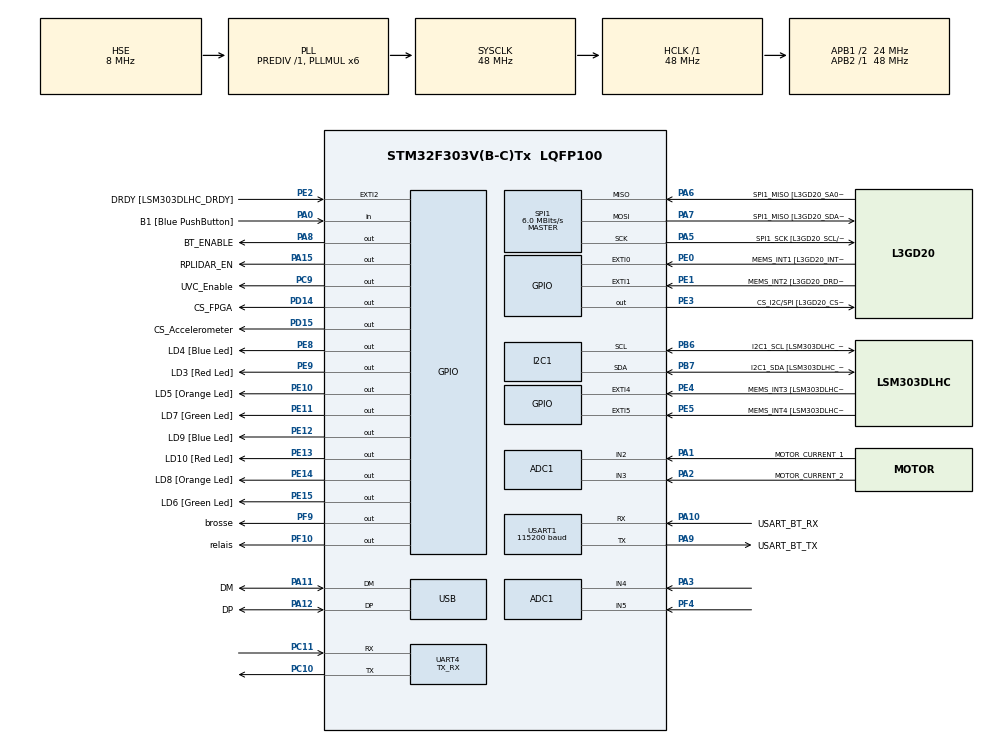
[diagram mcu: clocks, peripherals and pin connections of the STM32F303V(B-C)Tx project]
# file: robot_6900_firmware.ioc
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ADC1.Channel-14\#ChannelRegularConversion=ADC_CHANNEL_2
ADC1.Channel-6\#ChannelRegularConversion=ADC_CHANNEL_3
ADC1.ClockPrescaler=ADC_CLOCK_SYNC_PCLK_DIV2
ADC1.ContinuousConvMode=ENABLE
ADC1.DiscontinuousConvMode=DISABLE
ADC1.EOCSelection=ADC_EOC_SEQ_CONV
ADC1.EnableInjectedConversion=DISABLE
ADC1.EnableRegularConversion=ENABLE
ADC1.NbrOfConversion=2
ADC1.NbrOfConversionFlag=1
ADC1.Offset-14\#ChannelRegularConversion=0
ADC1.Offset-6\#ChannelRegularConversion=0
ADC1.OffsetNumber-14\#ChannelRegularConversion=ADC_OFFSET_NONE
ADC1.OffsetNumber-6\#ChannelRegularConversion=ADC_OFFSET_NONE
ADC1.Rank-14\#ChannelRegularConversion=2
ADC1.Rank-6\#ChannelRegularConversion=1
ADC1.SamplingTime-14\#ChannelRegularConversion=ADC_SAMPLETIME_1CYCLE_5
ADC1.SamplingTime-6\#ChannelRegularConversion=ADC_SAMPLETIME_1CYCLE_5
ADC1.master=1
CRC.CRCLength=CRC_POLYLENGTH_8B
CRC.DefaultPolynomialUse=DEFAULT_POLYNOMIAL_DISABLE
CRC.GeneratingPolynomial=X7+X4+X3+X1+X0
Dma.Request0=UART4_RX
Dma.Request1=USART1_TX
Dma.UART4_RX.0.Direction=DMA_PERIPH_TO_MEMORY
Dma.UART4_RX.0.Instance=DMA2_Channel3
Dma.UART4_RX.0.MemDataAlignment=DMA_MDATAALIGN_BYTE
Dma.UART4_RX.0.MemInc=DMA_MINC_ENABLE
Dma.UART4_RX.0.Mode=DMA_NORMAL
Dma.UART4_RX.0.PeriphDataAlignment=DMA_PDATAALIGN_BYTE
Dma.UART4_RX.0.PeriphInc=DMA_PINC_DISABLE
Dma.UART4_RX.0.Priority=DMA_PRIORITY_VERY_HIGH
Dma.USART1_TX.1.Direction=DMA_MEMORY_TO_PERIPH
Dma.USART1_TX.1.Instance=DMA1_Channel4
Dma.USART1_TX.1.MemDataAlignment=DMA_MDATAALIGN_BYTE
Dma.USART1_TX.1.MemInc=DMA_MINC_ENABLE
Dma.USART1_TX.1.Mode=DMA_NORMAL
Dma.USART1_TX.1.PeriphDataAlignment=DMA_PDATAALIGN_BYTE
Dma.USART1_TX.1.PeriphInc=DMA_PINC_DISABLE
Dma.USART1_TX.1.Priority=DMA_PRIORITY_LOW
I2C1.Timing-I2C=0x2000090E
IWDG.Reload=0
Mcu.Family=STM32F3
Mcu.Name=STM32F303V(B-C)Tx
Mcu.Package=LQFP100
NVIC.ADC1_2_IRQn=true\:0\:0\:false\:false\:true\:true\:true
NVIC.DMA1_Channel4_IRQn=true\:0\:0\:false\:false\:true\:false\:true
NVIC.DMA2_Channel3_IRQn=true\:0\:0\:false\:false\:true\:false\:true
NVIC.PriorityGroup=NVIC_PRIORITYGROUP_0
NVIC.SPI1_IRQn=true\:0\:0\:false\:false\:true\:true\:true
NVIC.TIM7_IRQn=true\:0\:0\:false\:false\:true\:true\:true
NVIC.UART4_IRQn=true\:0\:0\:false\:false\:true\:true\:true
NVIC.USART1_IRQn=true\:0\:0\:false\:false\:true\:true\:true
PA0.GPIO_Label=B1 [Blue PushButton]
PA0.Signal=GPIO_Input
PA1.GPIO_Label=MOTOR_CURRENT_1
PA1.Mode=IN2-Single-Ended
PA1.Signal=ADC1_IN2
PA10.GPIO_Label=USART_BT_RX
PA10.Mode=Asynchronous
PA10.Signal=USART1_RX
PA11.GPIO_Label=DM
PA11.Mode=Device
PA11.Signal=USB_DM
PA12.GPIO_Label=DP
PA12.Mode=Device
PA12.Signal=USB_DP
PA13.GPIO_Label=SWDIO
PA13.Mode=Serial_Wire
PA13.Signal=SYS_JTMS-SWDIO
PA14.GPIO_Label=SWCLK
PA14.Mode=Serial_Wire
PA14.Signal=SYS_JTCK-SWCLK
PA15.GPIO_Label=RPLIDAR_EN
PA15.Signal=GPIO_Output
PA2.GPIO_Label=MOTOR_CURRENT_2
PA2.Mode=IN3-Single-Ended
PA2.Signal=ADC1_IN3
PA3.Mode=IN4-Single-Ended
PA3.Signal=ADC1_IN4
PA5.GPIO_Label=SPI1_SCK [L3GD20_SCL/SPC]
PA5.Mode=Full_Duplex_Master
PA5.Signal=SPI1_SCK
PA6.GPIO_Label=SPI1_MISO [L3GD20_SA0/SDO]
PA6.Mode=Full_Duplex_Master
PA6.Signal=SPI1_MISO
PA7.GPIO_Label=SPI1_MISO [L3GD20_SDA/SDI/SDO]
PA7.Mode=Full_Duplex_Master
PA7.Signal=SPI1_MOSI
PA8.GPIO_Label=BT_ENABLE
PA8.Signal=GPIO_Output
PA9.GPIO_Label=USART_BT_TX
PA9.Mode=Asynchronous
PA9.Signal=USART1_TX
PB3.GPIO_Label=SWO
PB3.Signal=SYS_JTDO-TRACESWO
PB6.GPIO_Label=I2C1_SCL [LSM303DLHC_SCL]
PB6.Mode=I2C
PB6.Signal=I2C1_SCL
PB7.GPIO_Label=I2C1_SDA [LSM303DLHC_SDA]
PB7.Mode=I2C
PB7.Signal=I2C1_SDA
PC10.Mode=Asynchronous
PC10.Signal=UART4_TX
PC11.Mode=Asynchronous
PC11.Signal=UART4_RX
PC14-OSC32_IN.GPIO_Label=OSC32_IN
PC14-OSC32_IN.Signal=RCC_OSC32_IN
PC15-OSC32_OUT.GPIO_Label=OSC32_OUT
PC15-OSC32_OUT.Signal=RCC_OSC32_OUT
PC9.GPIO_Label=UVC_Enable
PC9.Signal=GPIO_Output
PD14.GPIO_Label=CS_FPGA
PD14.PinState=GPIO_PIN_SET
PD14.Signal=GPIO_Output
PD15.GPIO_Label=CS_Accelerometer
PD15.PinState=GPIO_PIN_SET
PD15.Signal=GPIO_Output
PE0.GPIO_Label=MEMS_INT1 [L3GD20_INT1]
PE0.GPIO_ModeDefaultEXTI=GPIO_MODE_EVT_RISING
PE0.Signal=GPXTI0
PE1.GPIO_Label=MEMS_INT2 [L3GD20_DRDY/INT2]
PE1.GPIO_ModeDefaultEXTI=GPIO_MODE_EVT_RISING
PE1.Signal=GPXTI1
PE10.GPIO_Label=LD5 [Orange Led]
PE10.Signal=GPIO_Output
PE11.GPIO_Label=LD7 [Green Led]
PE11.Signal=GPIO_Output
PE12.GPIO_Label=LD9 [Blue Led]
PE12.Signal=GPIO_Output
PE13.GPIO_Label=LD10 [Red Led]
PE13.Signal=GPIO_Output
PE14.GPIO_Label=LD8 [Orange Led]
PE14.Signal=GPIO_Output
PE15.GPIO_Label=LD6 [Green Led]
PE15.Signal=GPIO_Output
PE2.GPIO_Label=DRDY [LSM303DLHC_DRDY]
PE2.GPIO_ModeDefaultEXTI=GPIO_MODE_EVT_RISING
PE2.Signal=GPXTI2
PE3.GPIO_Label=CS_I2C/SPI [L3GD20_CS_I2C/SPI]
PE3.Signal=GPIO_Output
PE4.GPIO_Label=MEMS_INT3 [LSM303DLHC_INT1]
PE4.GPIO_ModeDefaultEXTI=GPIO_MODE_EVT_RISING
PE4.Signal=GPXTI4
PE5.GPIO_Label=MEMS_INT4 [LSM303DLHC_INT2]
PE5.GPIO_ModeDefaultEXTI=GPIO_MODE_EVT_RISING
PE5.Signal=GPXTI5
PE8.GPIO_Label=LD4 [Blue Led]
PE8.Signal=GPIO_Output
PE9.GPIO_Label=LD3 [Red Led]
PE9.Signal=GPIO_Output
PF0-OSC_IN.GPIO_Label=OSC_IN
PF0-OSC_IN.Mode=HSE-External-Clock-Source
PF0-OSC_IN.Signal=RCC_OSC_IN
PF1-OSC_OUT.GPIO_Label=OSC_OUT
PF1-OSC_OUT.Signal=RCC_OSC_OUT
PF10.GPIO_Label=relais
PF10.GPIO_ModeDefaultOutputPP=GPIO_MODE_OUTPUT_OD
PF10.Signal=GPIO_Output
PF4.Mode=IN5-Single-Ended
PF4.Signal=ADC1_IN5
PF9.GPIO_Label=brosse
PF9.GPIO_ModeDefaultOutputPP=GPIO_MODE_OUTPUT_OD
PF9.Signal=GPIO_Output
ProjectManager.HeapSize=0x200
ProjectManager.StackSize=0x400
ProjectManager.TargetToolchain=STM32CubeIDE
RCC.AHBFreq_Value=48000000
RCC.APB1CLKDivider=RCC_HCLK_DIV2
RCC.APB1Freq_Value=24000000
RCC.APB1TimFreq_Value=48000000
RCC.APB2Freq_Value=48000000
RCC.APB2TimFreq_Value=48000000
RCC.CortexFreq_Value=48000000
RCC.HCLKFreq_Value=48000000
RCC.HSE_VALUE=8000000
RCC.HSI_VALUE=8000000
RCC.LSE_VALUE=32768
RCC.PLLMUL=RCC_PLL_MUL6
RCC.SYSCLKFreq_VALUE=48000000
RCC.SYSCLKSourceVirtual=RCC_SYSCLKSOURCE_PLLCLK
RCC.USBFreq_Value=48000000
SPI1.BaudRatePrescaler=SPI_BAUDRATEPRESCALER_8
SPI1.BaudRatePrescaler-Full_Duplex_Master=SPI_BAUDRATEPRESCALER_2
SPI1.CLKPhase=SPI_PHASE_1EDGE
SPI1.CLKPolarity=SPI_POLARITY_LOW
SPI1.CRCCalculation=SPI_CRCCALCULATION_DISABLE
SPI1.CalculateBaudRate=6.0 MBits/s
SPI1.CalculateBaudRate-Full_Duplex_Master=24.0 MBits/s
SPI1.DataSize=SPI_DATASIZE_16BIT
SPI1.Direction=SPI_DIRECTION_2LINES
SPI1.Mode=SPI_MODE_MASTER
SPI1.Mode-Full_Duplex_Master=SPI_MODE_MASTER
SPI1.VirtualType=VM_MASTER
TIM7.AutoReloadPreload=TIM_AUTORELOAD_PRELOAD_ENABLE
TIM7.Period=47999
TIM7.Prescaler=0
TIM7.TIM_MasterOutputTrigger=TIM_TRGO_RESET
UART4.DMADisableonRxErrorParam=UART_ADVFEATURE_DMA_DISABLEONRXERROR
UART4.Mode=MODE_TX_RX
UART4.OneBitSampling=UART_ONE_BIT_SAMPLE_DISABLE
UART4.OverSampling=UART_OVERSAMPLING_16
USART1.BaudRate=115200
USART1.DMADisableonRxErrorParam=ADVFEATURE_DMA_DISABLEONRXERROR
USART1.OverrunDisableParam=ADVFEATURE_OVERRUN_DISABLE
USART1.VirtualMode-Asynchronous=VM_ASYNC
VP_CRC_VS_CRC.Mode=CRC_Activate
VP_IWDG_VS_IWDG.Mode=IWDG_Activate
VP_TIM7_VS_ClockSourceINT.Mode=Enable_Timer
board=STM32F3DISCOVERY

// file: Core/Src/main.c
/* USER CODE BEGIN Header */
/**
  ******************************************************************************
  * @file           : main.c
  * @brief          : Main program body
  ******************************************************************************
  * @attention
  *
  * <h2><center>&copy; Copyright (c) 2020 STMicroelectronics.
  * All rights reserved.</center></h2>
  *
  * This software component is licensed by ST under BSD 3-Clause license,
  * the "License"; You may not use this file except in compliance with the
  * License. You may obtain a copy of the License at:
  *                        opensource.org/licenses/BSD-3-Clause
  *
  ******************************************************************************
  */

/*
############################################################################
#
#	Robot 6900 Firmware Rev0.
#
#	This peace of software is controlling all the application related sensors,
#	such as the accelerometer, the battery current sensor and the LiDAR.
#	The firmware also drives 2 BLDC engines by sending SPI frame to a FPGA which
#	is generating ESC signals.
#
############################################################################
*/

/* USER CODE END Header */

#include "main.h"

/* USER CODE BEGIN Includes */
#include "robot_handler.h"
#include "commands_parser.h"
#include "RPlidar.h"
#include "washer_handler.h"
/* USER CODE END Includes */

/* USER CODE BEGIN PD */

/* Uncomment when debugging to disable IWDG */
#define DEBUG

/* USER CODE END PD */

ADC_HandleTypeDef hadc1;

CRC_HandleTypeDef hcrc;

I2C_HandleTypeDef hi2c1;

IWDG_HandleTypeDef hiwdg;

SPI_HandleTypeDef hspi1;

TIM_HandleTypeDef htim7;

UART_HandleTypeDef huart4;
UART_HandleTypeDef huart1;
DMA_HandleTypeDef hdma_uart4_rx;
DMA_HandleTypeDef hdma_usart1_tx;

PCD_HandleTypeDef hpcd_USB_FS;

/* USER CODE BEGIN PV */

ROBOT6900_STATE robot_state;
RPLIDAR_HANDLER RPlidar;

ROBOT6900_HANDLER h_robot6900 =
		{
				&hiwdg,
				&robot_state,
				&RPlidar,
				0
		};

uint8_t last_debug_leds = 0;

volatile uint16_t a_test = 0;
uint16_t b_test = 0;
/* USER CODE END PV */

void SystemClock_Config(void);
static void MX_GPIO_Init(void);
static void MX_DMA_Init(void);
static void MX_ADC1_Init(void);
static void MX_I2C1_Init(void);
static void MX_SPI1_Init(void);
static void MX_UART4_Init(void);
static void MX_USB_PCD_Init(void);
static void MX_IWDG_Init(void);
static void MX_CRC_Init(void);
static void MX_TIM7_Init(void);
static void MX_USART1_UART_Init(void);

/* USER CODE BEGIN 0 */

/*
 * UARTs Callback function. For HOST XBee, LiDAR UART and Bluetooth
 */
void HAL_UART_RxCpltCallback(UART_HandleTypeDef *huart)
{
	if(huart->Instance == USART1)
	{
		NVIC_command_parser_INT(huart);
	}
	else if(huart->Instance == UART4)
	{
		NVIC_RPlidar_INT(huart);
	}
}

void HAL_UART_TxCpltCallback(UART_HandleTypeDef *huart)
{
	if(huart->Instance == USART1)
	{
		NVIC_command_parser_TX_INT(huart);
	}
}

void HAL_TIM_PeriodElapsedCallback(TIM_HandleTypeDef* htim)
{
	if(htim->Instance==TIM7)
	{
		h_robot6900.robot_state->time_ms++;
		a_test++;
		NVIC_Timout_1ms_INT(htim);
	}
}

void HAL_ADC_ConvCpltCallback(ADC_HandleTypeDef* hadc)
{
	if(hadc->Instance == ADC1)
	{
		ADC_Conversion_INT(hadc);
	}
}
/*
 * Update the LEDs debug wheels (8 LEDs) on the stm32f3Discovery Board
 *
 * See attached Debug_LED excel for debug codes
 */
void update_LEDs(ROBOT6900_HANDLER* h_robot6900)
{
	static uint16_t LEDs_set[8] = {LD3_Pin, LD4_Pin ,LD5_Pin, LD6_Pin, LD7_Pin, LD8_Pin, LD9_Pin, LD10_Pin};

	for(uint8_t i = 0 ; i < 8 ; i++)
	{
		if( ((h_robot6900->robot_state->debug_leds) & (0x01 << i)) == (0x01 << i))
		{
			  HAL_GPIO_WritePin(GPIOE, LEDs_set[i], GPIO_PIN_SET);
		}
		else{
			  HAL_GPIO_WritePin(GPIOE, LEDs_set[i], GPIO_PIN_RESET);
		}
	}
}

/* USER CODE END 0 */

int main(void)
{
  /* USER CODE BEGIN 1 */
	h_robot6900.robot_state->time_ms = 0;
	//SPI_DRIVER_ERROR spi_log = SPI_DRIVER_OK;

  /* USER CODE END 1 */

  /* MCU Configuration--------------------------------------------------------*/

  /* Reset of all peripherals, Initializes the Flash interface and the Systick. */
  HAL_Init();

  /* Configure the system clock */
  SystemClock_Config();

  /* Initialize all configured peripherals */
  MX_GPIO_Init();
  MX_DMA_Init();
  MX_ADC1_Init();
  MX_I2C1_Init();
  MX_SPI1_Init();
  MX_UART4_Init();
  MX_USB_PCD_Init();
  MX_IWDG_Init();
  MX_CRC_Init();
  MX_TIM7_Init();
  MX_USART1_UART_Init();
  /* USER CODE BEGIN 2 */

  // Initiate LOG LEDs
  //HAL_GPIO_WritePin(GPIOA, LOG_HARDFAULT_Pin, GPIO_PIN_RESET);
  //HAL_GPIO_WritePin(GPIOA, LOG_WARNING_Pin, GPIO_PIN_RESET);

  /* Initialise Command parser peripheral. (FSM + CRC + UART5) */
  uart_init(&huart1, &hcrc);
  spi_driver_init(&hspi1);

  /* Initialise RPlidar peripheral (FSM + UART4) */
  RPlidar_init(&h_robot6900, &huart4, &htim7);

  washer_init(&hadc1);

  init_current_probes(&hadc1);

//  HAL_TIM_Base_Start_IT(&htim2);
  HAL_TIM_Base_Start_IT(&htim7);

  disable_UVC();

  // FPGA Motor Test
  //h_robot6900.robot_state->Etat_Movement = Mouvement_Post_Launch;
  /* USER CODE END 2 */

  /* Infinite loop */
  while (1)
  {

    /* USER CODE BEGIN 3 */

	  /*Command parser FSM */
	  cmd_parser_process(&h_robot6900);

	  /* RPlidar FSM */
	  RPlidar_process(&h_robot6900);

	  /* Robot Mouvment */
	  movement_process(&h_robot6900);

	  /* Washer Handler */
	  washer_process(&h_robot6900);

	  current_probes_process(&h_robot6900);

	  /* Debug LEDs state */
	  update_LEDs(&h_robot6900);

	  /* General shell returning data to the HOST */
	  parser_return(&h_robot6900);

  }
  /* USER CODE END 3 */
}

void SystemClock_Config(void)
{
  RCC_OscInitTypeDef RCC_OscInitStruct = {0};
  RCC_ClkInitTypeDef RCC_ClkInitStruct = {0};
  RCC_PeriphCLKInitTypeDef PeriphClkInit = {0};

  /** Initializes the CPU, AHB and APB busses clocks
  */
  RCC_OscInitStruct.OscillatorType = RCC_OSCILLATORTYPE_HSI|RCC_OSCILLATORTYPE_LSI
                              |RCC_OSCILLATORTYPE_HSE;
  RCC_OscInitStruct.HSEState = RCC_HSE_BYPASS;
  RCC_OscInitStruct.HSEPredivValue = RCC_HSE_PREDIV_DIV1;
  RCC_OscInitStruct.HSIState = RCC_HSI_ON;
  RCC_OscInitStruct.HSICalibrationValue = RCC_HSICALIBRATION_DEFAULT;
  RCC_OscInitStruct.LSIState = RCC_LSI_ON;
  RCC_OscInitStruct.PLL.PLLState = RCC_PLL_ON;
  RCC_OscInitStruct.PLL.PLLSource = RCC_PLLSOURCE_HSE;
  RCC_OscInitStruct.PLL.PLLMUL = RCC_PLL_MUL6;
  if (HAL_RCC_OscConfig(&RCC_OscInitStruct) != HAL_OK)
  {
    Error_Handler();
  }
  /** Initializes the CPU, AHB and APB busses clocks
  */
  RCC_ClkInitStruct.ClockType = RCC_CLOCKTYPE_HCLK|RCC_CLOCKTYPE_SYSCLK
                              |RCC_CLOCKTYPE_PCLK1|RCC_CLOCKTYPE_PCLK2;
  RCC_ClkInitStruct.SYSCLKSource = RCC_SYSCLKSOURCE_PLLCLK;
  RCC_ClkInitStruct.AHBCLKDivider = RCC_SYSCLK_DIV1;
  RCC_ClkInitStruct.APB1CLKDivider = RCC_HCLK_DIV2;
  RCC_ClkInitStruct.APB2CLKDivider = RCC_HCLK_DIV1;

  if (HAL_RCC_ClockConfig(&RCC_ClkInitStruct, FLASH_LATENCY_1) != HAL_OK)
  {
    Error_Handler();
  }
  PeriphClkInit.PeriphClockSelection = RCC_PERIPHCLK_USB|RCC_PERIPHCLK_USART1
                              |RCC_PERIPHCLK_UART4|RCC_PERIPHCLK_I2C1;
  PeriphClkInit.Usart1ClockSelection = RCC_USART1CLKSOURCE_PCLK2;
  PeriphClkInit.Uart4ClockSelection = RCC_UART4CLKSOURCE_PCLK1;
  PeriphClkInit.I2c1ClockSelection = RCC_I2C1CLKSOURCE_HSI;
  PeriphClkInit.USBClockSelection = RCC_USBCLKSOURCE_PLL;
  if (HAL_RCCEx_PeriphCLKConfig(&PeriphClkInit) != HAL_OK)
  {
    Error_Handler();
  }
}

static void MX_ADC1_Init(void)
{

  ADC_MultiModeTypeDef multimode = {0};
  ADC_ChannelConfTypeDef sConfig = {0};

  /** Common config
  */
  hadc1.Instance = ADC1;
  hadc1.Init.ClockPrescaler = ADC_CLOCK_SYNC_PCLK_DIV2;
  hadc1.Init.Resolution = ADC_RESOLUTION_12B;
  hadc1.Init.ScanConvMode = ADC_SCAN_ENABLE;
  hadc1.Init.ContinuousConvMode = ENABLE;
  hadc1.Init.DiscontinuousConvMode = DISABLE;
  hadc1.Init.ExternalTrigConvEdge = ADC_EXTERNALTRIGCONVEDGE_NONE;
  hadc1.Init.ExternalTrigConv = ADC_SOFTWARE_START;
  hadc1.Init.DataAlign = ADC_DATAALIGN_RIGHT;
  hadc1.Init.NbrOfConversion = 2;
  hadc1.Init.DMAContinuousRequests = DISABLE;
  hadc1.Init.EOCSelection = ADC_EOC_SEQ_CONV;
  hadc1.Init.LowPowerAutoWait = DISABLE;
  hadc1.Init.Overrun = ADC_OVR_DATA_OVERWRITTEN;
  if (HAL_ADC_Init(&hadc1) != HAL_OK)
  {
    Error_Handler();
  }
  /** Configure the ADC multi-mode
  */
  multimode.Mode = ADC_MODE_INDEPENDENT;
  if (HAL_ADCEx_MultiModeConfigChannel(&hadc1, &multimode) != HAL_OK)
  {
    Error_Handler();
  }
  /** Configure Regular Channel
  */
  sConfig.Channel = ADC_CHANNEL_3;
  sConfig.Rank = ADC_REGULAR_RANK_1;
  sConfig.SingleDiff = ADC_SINGLE_ENDED;
  sConfig.SamplingTime = ADC_SAMPLETIME_1CYCLE_5;
  sConfig.OffsetNumber = ADC_OFFSET_NONE;
  sConfig.Offset = 0;
  if (HAL_ADC_ConfigChannel(&hadc1, &sConfig) != HAL_OK)
  {
    Error_Handler();
  }
  /** Configure Regular Channel
  */
  sConfig.Channel = ADC_CHANNEL_2;
  sConfig.Rank = ADC_REGULAR_RANK_2;
  if (HAL_ADC_ConfigChannel(&hadc1, &sConfig) != HAL_OK)
  {
    Error_Handler();
  }

}

static void MX_CRC_Init(void)
{

  /* USER CODE BEGIN CRC_Init 0 */
	// CRC8 Polynom 0x9b = 155
  /* USER CODE END CRC_Init 0 */

  /* USER CODE BEGIN CRC_Init 1 */

  /* Initializing CRC Initial value for crc-8bit calculation */
  hcrc.Init.InitValue = 0xFF;

  /* USER CODE END CRC_Init 1 */
  hcrc.Instance = CRC;
  hcrc.Init.DefaultPolynomialUse = DEFAULT_POLYNOMIAL_DISABLE;
  hcrc.Init.DefaultInitValueUse = DEFAULT_INIT_VALUE_ENABLE;
  hcrc.Init.GeneratingPolynomial = 155;
  hcrc.Init.CRCLength = CRC_POLYLENGTH_8B;
  hcrc.Init.InputDataInversionMode = CRC_INPUTDATA_INVERSION_NONE;
  hcrc.Init.OutputDataInversionMode = CRC_OUTPUTDATA_INVERSION_DISABLE;
  hcrc.InputDataFormat = CRC_INPUTDATA_FORMAT_BYTES;
  if (HAL_CRC_Init(&hcrc) != HAL_OK)
  {
    Error_Handler();
  }

}

static void MX_I2C1_Init(void)
{

  hi2c1.Instance = I2C1;
  hi2c1.Init.Timing = 0x2000090E;
  hi2c1.Init.OwnAddress1 = 0;
  hi2c1.Init.AddressingMode = I2C_ADDRESSINGMODE_7BIT;
  hi2c1.Init.DualAddressMode = I2C_DUALADDRESS_DISABLE;
  hi2c1.Init.OwnAddress2 = 0;
  hi2c1.Init.OwnAddress2Masks = I2C_OA2_NOMASK;
  hi2c1.Init.GeneralCallMode = I2C_GENERALCALL_DISABLE;
  hi2c1.Init.NoStretchMode = I2C_NOSTRETCH_DISABLE;
  if (HAL_I2C_Init(&hi2c1) != HAL_OK)
  {
    Error_Handler();
  }
  /** Configure Analogue filter
  */
  if (HAL_I2CEx_ConfigAnalogFilter(&hi2c1, I2C_ANALOGFILTER_ENABLE) != HAL_OK)
  {
    Error_Handler();
  }
  /** Configure Digital filter
  */
  if (HAL_I2CEx_ConfigDigitalFilter(&hi2c1, 0) != HAL_OK)
  {
    Error_Handler();
  }

}

static void MX_IWDG_Init(void)
{

  /* USER CODE BEGIN IWDG_Init 1 */
#ifndef DEBUG
  /* USER CODE END IWDG_Init 1 */
  hiwdg.Instance = IWDG;
  hiwdg.Init.Prescaler = IWDG_PRESCALER_4;
  hiwdg.Init.Window = 4095;
  hiwdg.Init.Reload = 0;
  if (HAL_IWDG_Init(&hiwdg) != HAL_OK)
  {
    Error_Handler();
  }
  /* USER CODE BEGIN IWDG_Init 2 */
#endif
  /* USER CODE END IWDG_Init 2 */

}

static void MX_SPI1_Init(void)
{

  /* SPI1 parameter configuration*/
  hspi1.Instance = SPI1;
  hspi1.Init.Mode = SPI_MODE_MASTER;
  hspi1.Init.Direction = SPI_DIRECTION_2LINES;
  hspi1.Init.DataSize = SPI_DATASIZE_16BIT;
  hspi1.Init.CLKPolarity = SPI_POLARITY_LOW;
  hspi1.Init.CLKPhase = SPI_PHASE_1EDGE;
  hspi1.Init.NSS = SPI_NSS_SOFT;
  hspi1.Init.BaudRatePrescaler = SPI_BAUDRATEPRESCALER_8;
  hspi1.Init.FirstBit = SPI_FIRSTBIT_MSB;
  hspi1.Init.TIMode = SPI_TIMODE_DISABLE;
  hspi1.Init.CRCCalculation = SPI_CRCCALCULATION_DISABLE;
  hspi1.Init.CRCPolynomial = 7;
  hspi1.Init.CRCLength = SPI_CRC_LENGTH_DATASIZE;
  hspi1.Init.NSSPMode = SPI_NSS_PULSE_ENABLE;
  if (HAL_SPI_Init(&hspi1) != HAL_OK)
  {
    Error_Handler();
  }

}

static void MX_TIM7_Init(void)
{

  TIM_MasterConfigTypeDef sMasterConfig = {0};

  htim7.Instance = TIM7;
  htim7.Init.Prescaler = 0;
  htim7.Init.CounterMode = TIM_COUNTERMODE_UP;
  htim7.Init.Period = 47999;
  htim7.Init.AutoReloadPreload = TIM_AUTORELOAD_PRELOAD_ENABLE;
  if (HAL_TIM_Base_Init(&htim7) != HAL_OK)
  {
    Error_Handler();
  }
  sMasterConfig.MasterOutputTrigger = TIM_TRGO_RESET;
  sMasterConfig.MasterSlaveMode = TIM_MASTERSLAVEMODE_DISABLE;
  if (HAL_TIMEx_MasterConfigSynchronization(&htim7, &sMasterConfig) != HAL_OK)
  {
    Error_Handler();
  }

}

static void MX_UART4_Init(void)
{

  huart4.Instance = UART4;
  huart4.Init.BaudRate = 115200;
  huart4.Init.WordLength = UART_WORDLENGTH_8B;
  huart4.Init.StopBits = UART_STOPBITS_1;
  huart4.Init.Parity = UART_PARITY_NONE;
  huart4.Init.Mode = UART_MODE_TX_RX;
  huart4.Init.HwFlowCtl = UART_HWCONTROL_NONE;
  huart4.Init.OverSampling = UART_OVERSAMPLING_16;
  huart4.Init.OneBitSampling = UART_ONE_BIT_SAMPLE_DISABLE;
  huart4.AdvancedInit.AdvFeatureInit = UART_ADVFEATURE_DMADISABLEONERROR_INIT;
  huart4.AdvancedInit.DMADisableonRxError = UART_ADVFEATURE_DMA_DISABLEONRXERROR;
  if (HAL_UART_Init(&huart4) != HAL_OK)
  {
    Error_Handler();
  }

}

static void MX_USART1_UART_Init(void)
{

  huart1.Instance = USART1;
  huart1.Init.BaudRate = 115200;
  huart1.Init.WordLength = UART_WORDLENGTH_8B;
  huart1.Init.StopBits = UART_STOPBITS_1;
  huart1.Init.Parity = UART_PARITY_NONE;
  huart1.Init.Mode = UART_MODE_TX_RX;
  huart1.Init.HwFlowCtl = UART_HWCONTROL_NONE;
  huart1.Init.OverSampling = UART_OVERSAMPLING_16;
  huart1.Init.OneBitSampling = UART_ONE_BIT_SAMPLE_DISABLE;
  huart1.AdvancedInit.AdvFeatureInit = UART_ADVFEATURE_RXOVERRUNDISABLE_INIT|UART_ADVFEATURE_DMADISABLEONERROR_INIT;
  huart1.AdvancedInit.OverrunDisable = UART_ADVFEATURE_OVERRUN_DISABLE;
  huart1.AdvancedInit.DMADisableonRxError = UART_ADVFEATURE_DMA_DISABLEONRXERROR;
  if (HAL_UART_Init(&huart1) != HAL_OK)
  {
    Error_Handler();
  }

}

static void MX_USB_PCD_Init(void)
{

  hpcd_USB_FS.Instance = USB;
  hpcd_USB_FS.Init.dev_endpoints = 8;
  hpcd_USB_FS.Init.speed = PCD_SPEED_FULL;
  hpcd_USB_FS.Init.phy_itface = PCD_PHY_EMBEDDED;
  hpcd_USB_FS.Init.low_power_enable = DISABLE;
  hpcd_USB_FS.Init.battery_charging_enable = DISABLE;
  if (HAL_PCD_Init(&hpcd_USB_FS) != HAL_OK)
  {
    Error_Handler();
  }

}

static void MX_DMA_Init(void)
{

  /* DMA controller clock enable */
  __HAL_RCC_DMA2_CLK_ENABLE();
  __HAL_RCC_DMA1_CLK_ENABLE();

  /* DMA interrupt init */
  /* DMA1_Channel4_IRQn interrupt configuration */
  HAL_NVIC_SetPriority(DMA1_Channel4_IRQn, 0, 0);
  HAL_NVIC_EnableIRQ(DMA1_Channel4_IRQn);
  /* DMA2_Channel3_IRQn interrupt configuration */
  HAL_NVIC_SetPriority(DMA2_Channel3_IRQn, 0, 0);
  HAL_NVIC_EnableIRQ(DMA2_Channel3_IRQn);

}

static void MX_GPIO_Init(void)
{
  GPIO_InitTypeDef GPIO_InitStruct = {0};

  /* GPIO Ports Clock Enable */
  __HAL_RCC_GPIOE_CLK_ENABLE();
  __HAL_RCC_GPIOC_CLK_ENABLE();
  __HAL_RCC_GPIOF_CLK_ENABLE();
  __HAL_RCC_GPIOA_CLK_ENABLE();
  __HAL_RCC_GPIOD_CLK_ENABLE();
  __HAL_RCC_GPIOB_CLK_ENABLE();

  /*Configure GPIO pin Output Level */
  HAL_GPIO_WritePin(GPIOE, CS_I2C_SPI_Pin|LD4_Pin|LD3_Pin|LD5_Pin
                          |LD7_Pin|LD9_Pin|LD10_Pin|LD8_Pin
                          |LD6_Pin, GPIO_PIN_RESET);

  /*Configure GPIO pin Output Level */
  HAL_GPIO_WritePin(GPIOF, brosse_Pin|relais_Pin, GPIO_PIN_RESET);

  /*Configure GPIO pin Output Level */
  HAL_GPIO_WritePin(GPIOD, CS_FPGA_Pin|CS_Accelerometer_Pin, GPIO_PIN_SET);

  /*Configure GPIO pin Output Level */
  HAL_GPIO_WritePin(UVC_Enable_GPIO_Port, UVC_Enable_Pin, GPIO_PIN_RESET);

  /*Configure GPIO pin Output Level */
  HAL_GPIO_WritePin(GPIOA, BT_ENABLE_Pin|RPLIDAR_EN_Pin, GPIO_PIN_RESET);

  /*Configure GPIO pins : DRDY_Pin MEMS_INT3_Pin MEMS_INT4_Pin MEMS_INT1_Pin
                           MEMS_INT2_Pin */
  GPIO_InitStruct.Pin = DRDY_Pin|MEMS_INT3_Pin|MEMS_INT4_Pin|MEMS_INT1_Pin
                          |MEMS_INT2_Pin;
  GPIO_InitStruct.Mode = GPIO_MODE_EVT_RISING;
  GPIO_InitStruct.Pull = GPIO_NOPULL;
  HAL_GPIO_Init(GPIOE, &GPIO_InitStruct);

  /*Configure GPIO pins : CS_I2C_SPI_Pin LD4_Pin LD3_Pin LD5_Pin
                           LD7_Pin LD9_Pin LD10_Pin LD8_Pin
                           LD6_Pin */
  GPIO_InitStruct.Pin = CS_I2C_SPI_Pin|LD4_Pin|LD3_Pin|LD5_Pin
                          |LD7_Pin|LD9_Pin|LD10_Pin|LD8_Pin
                          |LD6_Pin;
  GPIO_InitStruct.Mode = GPIO_MODE_OUTPUT_PP;
  GPIO_InitStruct.Pull = GPIO_NOPULL;
  GPIO_InitStruct.Speed = GPIO_SPEED_FREQ_LOW;
  HAL_GPIO_Init(GPIOE, &GPIO_InitStruct);

  /*Configure GPIO pins : brosse_Pin relais_Pin */
  GPIO_InitStruct.Pin = brosse_Pin|relais_Pin;
  GPIO_InitStruct.Mode = GPIO_MODE_OUTPUT_OD;
  GPIO_InitStruct.Pull = GPIO_NOPULL;
  GPIO_InitStruct.Speed = GPIO_SPEED_FREQ_LOW;
  HAL_GPIO_Init(GPIOF, &GPIO_InitStruct);

  /*Configure GPIO pin : B1_Pin */
  GPIO_InitStruct.Pin = B1_Pin;
  GPIO_InitStruct.Mode = GPIO_MODE_INPUT;
  GPIO_InitStruct.Pull = GPIO_NOPULL;
  HAL_GPIO_Init(B1_GPIO_Port, &GPIO_InitStruct);

  /*Configure GPIO pins : CS_FPGA_Pin CS_Accelerometer_Pin */
  GPIO_InitStruct.Pin = CS_FPGA_Pin|CS_Accelerometer_Pin;
  GPIO_InitStruct.Mode = GPIO_MODE_OUTPUT_PP;
  GPIO_InitStruct.Pull = GPIO_NOPULL;
  GPIO_InitStruct.Speed = GPIO_SPEED_FREQ_LOW;
  HAL_GPIO_Init(GPIOD, &GPIO_InitStruct);

  /*Configure GPIO pin : UVC_Enable_Pin */
  GPIO_InitStruct.Pin = UVC_Enable_Pin;
  GPIO_InitStruct.Mode = GPIO_MODE_OUTPUT_PP;
  GPIO_InitStruct.Pull = GPIO_NOPULL;
  GPIO_InitStruct.Speed = GPIO_SPEED_FREQ_LOW;
  HAL_GPIO_Init(UVC_Enable_GPIO_Port, &GPIO_InitStruct);

  /*Configure GPIO pins : BT_ENABLE_Pin RPLIDAR_EN_Pin */
  GPIO_InitStruct.Pin = BT_ENABLE_Pin|RPLIDAR_EN_Pin;
  GPIO_InitStruct.Mode = GPIO_MODE_OUTPUT_PP;
  GPIO_InitStruct.Pull = GPIO_NOPULL;
  GPIO_InitStruct.Speed = GPIO_SPEED_FREQ_LOW;
  HAL_GPIO_Init(GPIOA, &GPIO_InitStruct);

}

void Error_Handler(void)
{
}

/************************ (C) COPYRIGHT STMicroelectronics *****END OF FILE****/
